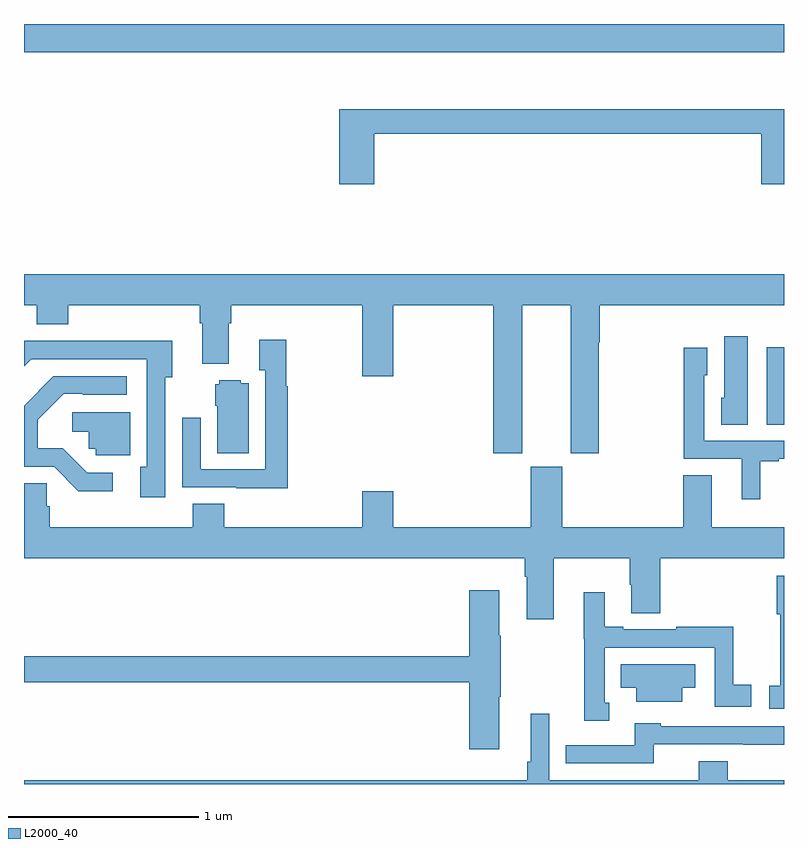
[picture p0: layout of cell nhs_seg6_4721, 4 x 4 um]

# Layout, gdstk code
import gdstk
lib = gdstk.Library(unit=1e-6, precision=1e-09)
def R(c, l, rs):  # rectangles x0, y0, x1, y1
    for r in rs: c.add(gdstk.rectangle(r[:2], r[2:], *l))
def P(c, l, *ps):  # polygons
    for p in ps: c.add(gdstk.Polygon(p, *l))
L2000_40 = (2000, 40)

nhs_seg6_4721 = lib.new_cell('nhs_seg6_4721')
R(nhs_seg6_4721, L2000_40, [(394.91,929.392,395,929.8), (391,931.352,395,931.5)])
P(nhs_seg6_4721, L2000_40, [(392.843,930.922),(394.88,930.922),(394.88,930.657),(395,930.657),(395,931.051),(392.66,931.051),(392.66,930.657),(392.843,930.657)],
  [(393.622,930.02),(393.878,930.02),(393.878,929.241),(394.026,929.241),(394.026,929.824),(394.031,929.824),(394.031,930.02),(395,930.02),(395,930.184),(391,930.184),(391,930.02),(391.067,930.02),(391.067,929.921),(391.232,929.921),(391.232,930.02),(391.925,930.02),(391.925,929.924),(391.937,929.924),(391.937,929.711),(392.077,929.711),(392.077,929.924),(392.09,929.924),(392.09,930.02),(392.78,930.02),(392.78,929.646),(392.944,929.646),(392.944,930.02),(393.47,930.02),(393.47,929.241),(393.622,929.241)],
  [(394.81,929.857),(394.685,929.857),(394.685,929.532),(394.67,929.532),(394.67,929.392),(394.81,929.392)],
  [(392.387,929.594),(392.38,929.594),(392.38,929.839),(392.237,929.839),(392.237,929.678),(392.271,929.678),(392.271,929.157),(391.929,929.157),(391.929,929.428),(391.833,929.428),(391.833,929.061),(392.117,929.061),(392.117,929.057),(392.387,929.057)],
  [(391.743,929.642),(391.78,929.642),(391.78,929.834),(391.315,929.834),(391.315,929.832),(391,929.832),(391,929.698),(391.038,929.736),(391.647,929.736),(391.647,929.17),(391.613,929.17),(391.613,929.01),(391.743,929.01)],
  [(394.876,929.199),(394.972,929.199),(394.972,929.211),(395,929.211),(395,929.307),(394.581,929.307),(394.581,929.652),(394.597,929.652),(394.597,929.797),(394.473,929.797),(394.473,929.211),(394.778,929.211),(394.778,928.998),(394.876,928.998)],
  [(391.468,929.139),(391.332,929.139),(391.205,929.266),(391.072,929.266),(391.072,929.416),(391.209,929.553),(391.309,929.553),(391.309,929.55),(391.54,929.55),(391.54,929.646),(391.154,929.646),(391,929.492),(391,929.169),(391.158,929.169),(391.286,929.042),(391.468,929.042)],
  [(392.182,929.608),(392.142,929.608),(392.142,929.626),(392.028,929.626),(392.028,929.604),(392.006,929.604),(392.006,929.49),(392.018,929.49),(392.018,929.242),(392.182,929.242)],
  [(391.558,929.457),(391.254,929.457),(391.254,929.354),(391.341,929.354),(391.341,929.265),(391.377,929.265),(391.377,929.229),(391.558,929.229)],
  [(393.635,928.592),(393.647,928.592),(393.647,928.368),(393.787,928.368),(393.787,928.688),(394.189,928.688),(394.189,928.55),(394.196,928.55),(394.196,928.399),(394.349,928.399),(394.349,928.688),(395,928.688),(395,928.852),(394.621,928.852),(394.621,929.126),(394.469,929.126),(394.469,928.852),(393.832,928.852),(393.832,929.169),(393.668,929.169),(393.668,928.852),(392.944,928.852),(392.944,929.041),(392.78,929.041),(392.78,928.852),(392.054,928.852),(392.054,928.976),(391.889,928.976),(391.889,928.852),(391.136,928.852),(391.136,928.962),(391.121,928.962),(391.121,929.084),(391,929.084),(391,928.688),(393.635,928.688)],
  [(395,928.596),(394.963,928.596),(394.963,928.393),(394.981,928.393),(394.981,928.017),(394.923,928.017),(394.923,927.897),(395,927.897)],
  [(393.502,927.959),(393.51,927.959),(393.51,928.28),(393.502,928.28),(393.502,928.519),(393.344,928.519),(393.344,928.172),(391,928.172),(391,928.036),(393.344,928.036),(393.344,927.684),(393.502,927.684)],
  [(394.081,927.927),(394.056,927.927),(394.056,928.218),(394.635,928.218),(394.635,927.906),(394.828,927.906),(394.828,928.022),(394.734,928.022),(394.734,928.327),(394.432,928.327),(394.432,928.314),(394.153,928.314),(394.153,928.327),(394.057,928.327),(394.057,928.51),(393.947,928.51),(393.947,928.265),(393.948,928.265),(393.948,927.833),(394.081,927.833)],
  [(394.465,928.007),(394.534,928.007),(394.534,928.129),(394.141,928.129),(394.141,928.007),(394.223,928.007),(394.223,927.932),(394.465,927.932)],
  [(395,927.52),(394.703,927.52),(394.703,927.619),(394.55,927.619),(394.55,927.52),(393.765,927.52),(393.765,927.871),(393.668,927.871),(393.668,927.616),(393.649,927.616),(393.649,927.52),(391,927.52),(391,927.5),(395,927.5)],
  [(394.314,927.708),(394.786,927.708),(394.786,927.707),(395,927.707),(395,927.804),(394.35,927.804),(394.35,927.82),(394.214,927.82),(394.214,927.705),(393.85,927.705),(393.85,927.609),(394.314,927.609)])

lib.write_gds('nhs_seg6_4721.gds')
